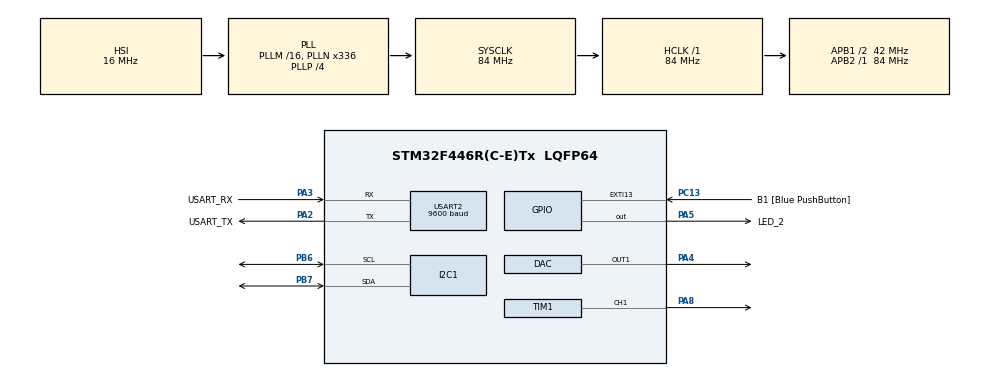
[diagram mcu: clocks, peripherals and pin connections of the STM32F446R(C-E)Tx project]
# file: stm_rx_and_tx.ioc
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DAC.DAC_Trigger=DAC_TRIGGER_T2_TRGO
Dma.DAC1.0.Direction=DMA_MEMORY_TO_PERIPH
Dma.DAC1.0.FIFOMode=DMA_FIFOMODE_DISABLE
Dma.DAC1.0.Instance=DMA1_Stream5
Dma.DAC1.0.MemDataAlignment=DMA_MDATAALIGN_WORD
Dma.DAC1.0.MemInc=DMA_MINC_ENABLE
Dma.DAC1.0.Mode=DMA_CIRCULAR
Dma.DAC1.0.PeriphDataAlignment=DMA_PDATAALIGN_WORD
Dma.DAC1.0.PeriphInc=DMA_PINC_DISABLE
Dma.DAC1.0.Priority=DMA_PRIORITY_HIGH
Dma.Request0=DAC1
FREERTOS.Queues01=FreqQueue,10,int,0,Dynamic,NULL,NULL
FREERTOS.Tasks01=Task1,40,1024,StartTask1,Default,NULL,Dynamic,NULL,NULL;Task2,24,1024,StartTask2,Default,NULL,Dynamic,NULL,NULL;Task3,8,1024,StartTask3,Default,NULL,Dynamic,NULL,NULL
FREERTOS.configUSE_NEWLIB_REENTRANT=1
Mcu.Family=STM32F4
Mcu.Name=STM32F446R(C-E)Tx
Mcu.Package=LQFP64
NVIC.DMA1_Stream5_IRQn=true\:5\:0\:false\:false\:true\:true\:false\:true\:true
NVIC.I2C1_ER_IRQn=true\:5\:0\:false\:false\:true\:true\:true\:true\:true
NVIC.I2C1_EV_IRQn=true\:5\:0\:false\:false\:true\:true\:true\:true\:true
NVIC.PriorityGroup=NVIC_PRIORITYGROUP_4
NVIC.TIM6_DAC_IRQn=true\:5\:0\:false\:false\:true\:false\:false\:true\:true
NVIC.TimeBase=TIM6_DAC_IRQn
NVIC.TimeBaseIP=TIM6
NVIC.USART2_IRQn=true\:5\:0\:false\:false\:true\:true\:true\:true\:true
PA13.GPIO_Label=TMS
PA13.Mode=Serial_Wire
PA13.Signal=SYS_JTMS-SWDIO
PA14.GPIO_Label=TCK
PA14.Mode=Serial_Wire
PA14.Signal=SYS_JTCK-SWCLK
PA2.GPIO_Label=USART_TX
PA2.Mode=Asynchronous
PA2.Signal=USART2_TX
PA3.GPIO_Label=USART_RX
PA3.Mode=Asynchronous
PA3.Signal=USART2_RX
PA4.Signal=COMP_DAC1_group
PA5.GPIO_Label=LED_2
PA5.Signal=GPIO_Output
PA8.Signal=S_TIM1_CH1
PB3.GPIO_Label=SWO
PB3.Signal=SYS_JTDO-SWO
PB6.Mode=I2C
PB6.Signal=I2C1_SCL
PB7.Mode=I2C
PB7.Signal=I2C1_SDA
PC13.GPIO_Label=B1 [Blue PushButton]
PC13.GPIO_ModeDefaultEXTI=GPIO_MODE_IT_FALLING
PC13.Signal=GPXTI13
PC14-OSC32_IN.Mode=LSE-External-Oscillator
PC14-OSC32_IN.Signal=RCC_OSC32_IN
PC15-OSC32_OUT.Mode=LSE-External-Oscillator
PC15-OSC32_OUT.Signal=RCC_OSC32_OUT
PH0-OSC_IN.Mode=HSE-External-Oscillator
PH0-OSC_IN.Signal=RCC_OSC_IN
PH1-OSC_OUT.Mode=HSE-External-Oscillator
PH1-OSC_OUT.Signal=RCC_OSC_OUT
ProjectManager.HeapSize=0x200
ProjectManager.StackSize=0x400
ProjectManager.TargetToolchain=STM32CubeIDE
RCC.48MHZClocksFreq_Value=84000000
RCC.AHBFreq_Value=84000000
RCC.APB1CLKDivider=RCC_HCLK_DIV2
RCC.APB1Freq_Value=42000000
RCC.APB1TimFreq_Value=84000000
RCC.APB2Freq_Value=84000000
RCC.APB2TimFreq_Value=84000000
RCC.CortexFreq_Value=84000000
RCC.FLatency-AdvancedSettings=FLASH_LATENCY_2
RCC.HCLKFreq_Value=84000000
RCC.HSE_VALUE=8000000
RCC.HSI_VALUE=16000000
RCC.PLLN=336
RCC.PLLP=RCC_PLLP_DIV4
RCC.SYSCLKFreq_VALUE=84000000
RCC.SYSCLKSource=RCC_SYSCLKSOURCE_PLLCLK
RCC.USBFreq_Value=168000000
RCC.VCOOutputFreq_Value=336000000
SH.COMP_DAC1_group.0=DAC_OUT1,DAC_OUT1
SH.S_TIM1_CH1.0=TIM1_CH1,PWM Generation1 CH1
TIM1.AutoReloadPreload=TIM_AUTORELOAD_PRELOAD_ENABLE
TIM1.Channel-PWM\ Generation1\ CH1=TIM_CHANNEL_1
TIM1.Period=9999
TIM1.Prescaler=83
TIM2.AutoReloadPreload=TIM_AUTORELOAD_PRELOAD_ENABLE
TIM2.Period=2624
TIM2.Prescaler=999
TIM2.TIM_MasterOutputTrigger=TIM_TRGO_UPDATE
USART2.BaudRate=9600
USART2.VirtualMode=VM_ASYNC
VP_FREERTOS_VS_CMSIS_V2.Mode=CMSIS_V2
VP_SYS_VS_tim6.Mode=TIM6
VP_TIM1_VS_ClockSourceINT.Mode=Internal
VP_TIM2_VS_ClockSourceINT.Mode=Internal
board=NUCLEO-F446RE

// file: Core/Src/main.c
/* USER CODE BEGIN Header */
/**
  ******************************************************************************
  * @file           : main.c
  * @brief          : Main program body
  ******************************************************************************
  * @attention
  *
  * Copyright (c) 2026 STMicroelectronics.
  * All rights reserved.
  *
  * This software is licensed under terms that can be found in the LICENSE file
  * in the root directory of this software component.
  * If no LICENSE file comes with this software, it is provided AS-IS.
  *
  ******************************************************************************
  */
/* USER CODE END Header */
#include "main.h"
#include "cmsis_os.h"

/* USER CODE BEGIN Includes */
#include <string.h>
#include <stdio.h>
#include <math.h>
/* USER CODE END Includes */

/* USER CODE BEGIN PD */
#define BUFFER 40
#define I2C_BUFFER 16
#define SAW_PTS 32

# define MEM_SIZE 1
# define DATA_SIZE 1
# define TIMEOUT 1000
/* USER CODE END PD */

DAC_HandleTypeDef hdac;
DMA_HandleTypeDef hdma_dac1;

I2C_HandleTypeDef hi2c1;

TIM_HandleTypeDef htim1;
TIM_HandleTypeDef htim2;

UART_HandleTypeDef huart2;

/* Definitions for Task1 */
osThreadId_t Task1Handle;
const osThreadAttr_t Task1_attributes = {
  .name = "Task1",
  .stack_size = 1024 * 4,
  .priority = (osPriority_t) osPriorityHigh,
};
/* Definitions for Task2 */
osThreadId_t Task2Handle;
const osThreadAttr_t Task2_attributes = {
  .name = "Task2",
  .stack_size = 1024 * 4,
  .priority = (osPriority_t) osPriorityNormal,
};
/* Definitions for Task3 */
osThreadId_t Task3Handle;
const osThreadAttr_t Task3_attributes = {
  .name = "Task3",
  .stack_size = 1024 * 4,
  .priority = (osPriority_t) osPriorityLow,
};
/* Definitions for FreqQueue */
osMessageQueueId_t FreqQueueHandle;
const osMessageQueueAttr_t FreqQueue_attributes = {
  .name = "FreqQueue"
};

void SystemClock_Config(void);
static void MX_GPIO_Init(void);
static void MX_DMA_Init(void);
static void MX_USART2_UART_Init(void);
static void MX_DAC_Init(void);
static void MX_TIM2_Init(void);
static void MX_I2C1_Init(void);
static void MX_TIM1_Init(void);
void StartTask1(void *argument);
void StartTask2(void *argument);
void StartTask3(void *argument);

/* USER CODE BEGIN PFP */
uint8_t *cmd_msg1 = "send a number between 1 and 10\n";
uint8_t *cmd = "fast\n";
uint8_t *cmd3 = "slow\n";
uint8_t *cmd4 = "reset\n";
uint8_t *cmd2 = "echo\n";

uint32_t saw[SAW_PTS] = {0,251,503,754,1006,1257,1509,1761,2012,
						2264,2515,2767,3018,3270,3522,3773,3773,3522,3270,3018,2767,
						2515,2264,2012,1761,1509,1257,1006,754,503,251,0};

uint8_t DATA[BUFFER] = {'\0'};
volatile uint16_t data_length = 0;

uint8_t I2C_DATA[I2C_BUFFER] = {'\0'};
volatile uint16_t i2c_data_length = 0;

uint8_t uart_int_var = 0;

uint8_t i2c_addr = 0x68 << 1;

uint16_t pwm_data[1] = {10};

void HAL_UARTEx_RxEventCallback(UART_HandleTypeDef *huart, uint16_t Size)
{
	data_length = Size;
	HAL_UARTEx_ReceiveToIdle_IT(&huart2, DATA, BUFFER);
	DATA[data_length] = '\0';
	uart_int_var = 1;

}

void HAL_I2C_MasterTxCpltCallback(I2C_HandleTypeDef *hi2c)
{
	if(hi2c->Instance == I2C1)
	{

	}
}

void HAL_I2C_MemTxCpltCallback(I2C_HandleTypeDef *hi2c)
{

}

void imu_init(uint8_t addr)
{
	uint8_t check;
	uint8_t data;

	uint8_t mema_1 = 0x75;
	uint8_t mema_2 = 0x6B;
	uint8_t mema_3 = 0x19;
	uint8_t mema_4 = 0x1B, mema_5 = 0x1C;

	HAL_I2C_Mem_Read(&hi2c1, addr, mema_1, MEM_SIZE, &check, DATA_SIZE, TIMEOUT);

	data = 0x00;
	HAL_I2C_Mem_Write(&hi2c1, addr, mema_2, MEM_SIZE, &data, DATA_SIZE, TIMEOUT);

	data = 0x07;
	HAL_I2C_Mem_Write(&hi2c1, addr, mema_3, MEM_SIZE, &data, DATA_SIZE, TIMEOUT);

	data = 0x00;
	HAL_I2C_Mem_Write(&hi2c1, addr, mema_4, MEM_SIZE, &data, DATA_SIZE, TIMEOUT);
	HAL_I2C_Mem_Write(&hi2c1, addr, mema_5, MEM_SIZE, &data, DATA_SIZE, TIMEOUT);

}

void read_gyro_data(uint8_t addr, float *gyrox, float *gyroy, float *gyroz)
{
	uint8_t raw_data[6];
	int16_t gryo_x_raw, gryo_y_raw, gryo_z_raw;

	HAL_I2C_Mem_Read(&hi2c1, addr, 0x43, MEM_SIZE, raw_data, 6, 1000);

	gryo_x_raw = (int16_t)(raw_data[0] << 8 | raw_data[1]);
	gryo_y_raw = (int16_t)(raw_data[2] << 8 | raw_data[3]);
	gryo_z_raw = (int16_t)(raw_data[4] << 8 | raw_data[5]);

	*gyrox = gryo_x_raw / 131.0;
	*gyroy = gryo_y_raw / 131.0;
	*gyroz = gryo_z_raw / 131.0;

}

/* USER CODE END PFP */

int main(void)
{

  /* MCU Configuration--------------------------------------------------------*/

  /* Reset of all peripherals, Initializes the Flash interface and the Systick. */
  HAL_Init();

  /* Configure the system clock */
  SystemClock_Config();

  /* Initialize all configured peripherals */
  MX_GPIO_Init();
  MX_DMA_Init();
  MX_USART2_UART_Init();
  MX_DAC_Init();
  MX_TIM2_Init();
  MX_I2C1_Init();
  MX_TIM1_Init();

  /* Init scheduler */
  osKernelInitialize();

  /* USER CODE BEGIN RTOS_TIMERS */
  /* start timers, add new ones, ... */
  ////////////////////////////////////////////////////////////////////////
  HAL_TIM_Base_Start(&htim2);
  HAL_TIM_Base_Start(&htim1);

  HAL_DAC_Start_DMA(&hdac, DAC_CHANNEL_1, saw, SAW_PTS, DAC_ALIGN_12B_R);

  //HAL_TIM_PWM_Start_DMA(&htim1, TIM_CHANNEL_1, (uint32_t *)pwm_data, 1);
  TIM1->CCR1 = 1000;
  HAL_TIM_PWM_Start(&htim1, TIM_CHANNEL_1);
  /* USER CODE END RTOS_TIMERS */

  /* Create the queue(s) */
  /* creation of FreqQueue */
  FreqQueueHandle = osMessageQueueNew (10, sizeof(int), &FreqQueue_attributes);

  /* Create the thread(s) */
  /* creation of Task1 */
  Task1Handle = osThreadNew(StartTask1, NULL, &Task1_attributes);

  /* creation of Task2 */
  Task2Handle = osThreadNew(StartTask2, NULL, &Task2_attributes);

  /* creation of Task3 */
  Task3Handle = osThreadNew(StartTask3, NULL, &Task3_attributes);

  /* Start scheduler */
  osKernelStart();

  /* We should never get here as control is now taken by the scheduler */

  /* Infinite loop */
  while (1)
  {

  }
}

void SystemClock_Config(void)
{
  RCC_OscInitTypeDef RCC_OscInitStruct = {0};
  RCC_ClkInitTypeDef RCC_ClkInitStruct = {0};

  /** Configure the main internal regulator output voltage
  */
  __HAL_RCC_PWR_CLK_ENABLE();
  __HAL_PWR_VOLTAGESCALING_CONFIG(PWR_REGULATOR_VOLTAGE_SCALE3);

  /** Initializes the RCC Oscillators according to the specified parameters
  * in the RCC_OscInitTypeDef structure.
  */
  RCC_OscInitStruct.OscillatorType = RCC_OSCILLATORTYPE_HSI;
  RCC_OscInitStruct.HSIState = RCC_HSI_ON;
  RCC_OscInitStruct.HSICalibrationValue = RCC_HSICALIBRATION_DEFAULT;
  RCC_OscInitStruct.PLL.PLLState = RCC_PLL_ON;
  RCC_OscInitStruct.PLL.PLLSource = RCC_PLLSOURCE_HSI;
  RCC_OscInitStruct.PLL.PLLM = 16;
  RCC_OscInitStruct.PLL.PLLN = 336;
  RCC_OscInitStruct.PLL.PLLP = RCC_PLLP_DIV4;
  RCC_OscInitStruct.PLL.PLLQ = 2;
  RCC_OscInitStruct.PLL.PLLR = 2;
  if (HAL_RCC_OscConfig(&RCC_OscInitStruct) != HAL_OK)
  {
    Error_Handler();
  }

  /** Initializes the CPU, AHB and APB buses clocks
  */
  RCC_ClkInitStruct.ClockType = RCC_CLOCKTYPE_HCLK|RCC_CLOCKTYPE_SYSCLK
                              |RCC_CLOCKTYPE_PCLK1|RCC_CLOCKTYPE_PCLK2;
  RCC_ClkInitStruct.SYSCLKSource = RCC_SYSCLKSOURCE_PLLCLK;
  RCC_ClkInitStruct.AHBCLKDivider = RCC_SYSCLK_DIV1;
  RCC_ClkInitStruct.APB1CLKDivider = RCC_HCLK_DIV2;
  RCC_ClkInitStruct.APB2CLKDivider = RCC_HCLK_DIV1;

  if (HAL_RCC_ClockConfig(&RCC_ClkInitStruct, FLASH_LATENCY_2) != HAL_OK)
  {
    Error_Handler();
  }
}

static void MX_DAC_Init(void)
{

  DAC_ChannelConfTypeDef sConfig = {0};

  /** DAC Initialization
  */
  hdac.Instance = DAC;
  if (HAL_DAC_Init(&hdac) != HAL_OK)
  {
    Error_Handler();
  }

  /** DAC channel OUT1 config
  */
  sConfig.DAC_Trigger = DAC_TRIGGER_T2_TRGO;
  sConfig.DAC_OutputBuffer = DAC_OUTPUTBUFFER_ENABLE;
  if (HAL_DAC_ConfigChannel(&hdac, &sConfig, DAC_CHANNEL_1) != HAL_OK)
  {
    Error_Handler();
  }

}

static void MX_I2C1_Init(void)
{

  hi2c1.Instance = I2C1;
  hi2c1.Init.ClockSpeed = 100000;
  hi2c1.Init.DutyCycle = I2C_DUTYCYCLE_2;
  hi2c1.Init.OwnAddress1 = 0;
  hi2c1.Init.AddressingMode = I2C_ADDRESSINGMODE_7BIT;
  hi2c1.Init.DualAddressMode = I2C_DUALADDRESS_DISABLE;
  hi2c1.Init.OwnAddress2 = 0;
  hi2c1.Init.GeneralCallMode = I2C_GENERALCALL_DISABLE;
  hi2c1.Init.NoStretchMode = I2C_NOSTRETCH_DISABLE;
  if (HAL_I2C_Init(&hi2c1) != HAL_OK)
  {
    Error_Handler();
  }

}

static void MX_TIM1_Init(void)
{

  TIM_ClockConfigTypeDef sClockSourceConfig = {0};
  TIM_MasterConfigTypeDef sMasterConfig = {0};
  TIM_OC_InitTypeDef sConfigOC = {0};
  TIM_BreakDeadTimeConfigTypeDef sBreakDeadTimeConfig = {0};

  htim1.Instance = TIM1;
  htim1.Init.Prescaler = 83;
  htim1.Init.CounterMode = TIM_COUNTERMODE_UP;
  htim1.Init.Period = 9999;
  htim1.Init.ClockDivision = TIM_CLOCKDIVISION_DIV1;
  htim1.Init.RepetitionCounter = 0;
  htim1.Init.AutoReloadPreload = TIM_AUTORELOAD_PRELOAD_ENABLE;
  if (HAL_TIM_Base_Init(&htim1) != HAL_OK)
  {
    Error_Handler();
  }
  sClockSourceConfig.ClockSource = TIM_CLOCKSOURCE_INTERNAL;
  if (HAL_TIM_ConfigClockSource(&htim1, &sClockSourceConfig) != HAL_OK)
  {
    Error_Handler();
  }
  if (HAL_TIM_PWM_Init(&htim1) != HAL_OK)
  {
    Error_Handler();
  }
  sMasterConfig.MasterOutputTrigger = TIM_TRGO_RESET;
  sMasterConfig.MasterSlaveMode = TIM_MASTERSLAVEMODE_DISABLE;
  if (HAL_TIMEx_MasterConfigSynchronization(&htim1, &sMasterConfig) != HAL_OK)
  {
    Error_Handler();
  }
  sConfigOC.OCMode = TIM_OCMODE_PWM1;
  sConfigOC.Pulse = 0;
  sConfigOC.OCPolarity = TIM_OCPOLARITY_HIGH;
  sConfigOC.OCNPolarity = TIM_OCNPOLARITY_HIGH;
  sConfigOC.OCFastMode = TIM_OCFAST_DISABLE;
  sConfigOC.OCIdleState = TIM_OCIDLESTATE_RESET;
  sConfigOC.OCNIdleState = TIM_OCNIDLESTATE_RESET;
  if (HAL_TIM_PWM_ConfigChannel(&htim1, &sConfigOC, TIM_CHANNEL_1) != HAL_OK)
  {
    Error_Handler();
  }
  sBreakDeadTimeConfig.OffStateRunMode = TIM_OSSR_DISABLE;
  sBreakDeadTimeConfig.OffStateIDLEMode = TIM_OSSI_DISABLE;
  sBreakDeadTimeConfig.LockLevel = TIM_LOCKLEVEL_OFF;
  sBreakDeadTimeConfig.DeadTime = 0;
  sBreakDeadTimeConfig.BreakState = TIM_BREAK_DISABLE;
  sBreakDeadTimeConfig.BreakPolarity = TIM_BREAKPOLARITY_HIGH;
  sBreakDeadTimeConfig.AutomaticOutput = TIM_AUTOMATICOUTPUT_DISABLE;
  if (HAL_TIMEx_ConfigBreakDeadTime(&htim1, &sBreakDeadTimeConfig) != HAL_OK)
  {
    Error_Handler();
  }
  HAL_TIM_MspPostInit(&htim1);

}

static void MX_TIM2_Init(void)
{

  TIM_ClockConfigTypeDef sClockSourceConfig = {0};
  TIM_MasterConfigTypeDef sMasterConfig = {0};

  htim2.Instance = TIM2;
  htim2.Init.Prescaler = 999;
  htim2.Init.CounterMode = TIM_COUNTERMODE_UP;
  htim2.Init.Period = 2624;
  htim2.Init.ClockDivision = TIM_CLOCKDIVISION_DIV1;
  htim2.Init.AutoReloadPreload = TIM_AUTORELOAD_PRELOAD_ENABLE;
  if (HAL_TIM_Base_Init(&htim2) != HAL_OK)
  {
    Error_Handler();
  }
  sClockSourceConfig.ClockSource = TIM_CLOCKSOURCE_INTERNAL;
  if (HAL_TIM_ConfigClockSource(&htim2, &sClockSourceConfig) != HAL_OK)
  {
    Error_Handler();
  }
  sMasterConfig.MasterOutputTrigger = TIM_TRGO_UPDATE;
  sMasterConfig.MasterSlaveMode = TIM_MASTERSLAVEMODE_DISABLE;
  if (HAL_TIMEx_MasterConfigSynchronization(&htim2, &sMasterConfig) != HAL_OK)
  {
    Error_Handler();
  }

}

static void MX_USART2_UART_Init(void)
{

  huart2.Instance = USART2;
  huart2.Init.BaudRate = 9600;
  huart2.Init.WordLength = UART_WORDLENGTH_8B;
  huart2.Init.StopBits = UART_STOPBITS_1;
  huart2.Init.Parity = UART_PARITY_NONE;
  huart2.Init.Mode = UART_MODE_TX_RX;
  huart2.Init.HwFlowCtl = UART_HWCONTROL_NONE;
  huart2.Init.OverSampling = UART_OVERSAMPLING_16;
  if (HAL_UART_Init(&huart2) != HAL_OK)
  {
    Error_Handler();
  }

}

static void MX_DMA_Init(void)
{

  /* DMA controller clock enable */
  __HAL_RCC_DMA1_CLK_ENABLE();

  /* DMA interrupt init */
  /* DMA1_Stream5_IRQn interrupt configuration */
  HAL_NVIC_SetPriority(DMA1_Stream5_IRQn, 5, 0);
  HAL_NVIC_EnableIRQ(DMA1_Stream5_IRQn);

}

static void MX_GPIO_Init(void)
{
  GPIO_InitTypeDef GPIO_InitStruct = {0};

  /* GPIO Ports Clock Enable */
  __HAL_RCC_GPIOC_CLK_ENABLE();
  __HAL_RCC_GPIOH_CLK_ENABLE();
  __HAL_RCC_GPIOA_CLK_ENABLE();
  __HAL_RCC_GPIOB_CLK_ENABLE();

  /*Configure GPIO pin Output Level */
  HAL_GPIO_WritePin(LED_2_GPIO_Port, LED_2_Pin, GPIO_PIN_RESET);

  /*Configure GPIO pin : B1_Pin */
  GPIO_InitStruct.Pin = B1_Pin;
  GPIO_InitStruct.Mode = GPIO_MODE_IT_FALLING;
  GPIO_InitStruct.Pull = GPIO_NOPULL;
  HAL_GPIO_Init(B1_GPIO_Port, &GPIO_InitStruct);

  /*Configure GPIO pin : LED_2_Pin */
  GPIO_InitStruct.Pin = LED_2_Pin;
  GPIO_InitStruct.Mode = GPIO_MODE_OUTPUT_PP;
  GPIO_InitStruct.Pull = GPIO_NOPULL;
  GPIO_InitStruct.Speed = GPIO_SPEED_FREQ_LOW;
  HAL_GPIO_Init(LED_2_GPIO_Port, &GPIO_InitStruct);

}

void StartTask1(void *argument)
{
  /* USER CODE BEGIN 5 */
	//int cmd_1_token = 0;

  /* Infinite loop */
	uint8_t CMD[BUFFER] = {'\0'};
	volatile int temp_msg = 0;

  for(;;)
  {
	  HAL_UARTEx_ReceiveToIdle_IT(&huart2, DATA, BUFFER);
	  if((!strcmp(DATA, cmd)) && (uart_int_var == 1))
	  {
		  osDelay(10);
		  HAL_UART_Transmit(&huart2, DATA, data_length, 1000);
		  temp_msg = 1;
	  }
	  else if((!strcmp(DATA, cmd3)) && (uart_int_var == 1))
	  {
		 osDelay(10);
		 HAL_UART_Transmit(&huart2, DATA, data_length, 1000);
		 temp_msg = 2;
	  }
	  else if((!strcmp(DATA, cmd2)) && (uart_int_var == 1))
	  {
		  osDelay(10);
		  HAL_UART_Transmit(&huart2, DATA, data_length, 1000);
	  }
	  else if((!strcmp(DATA, cmd4)) && (uart_int_var == 1))
	  {
		  osDelay(10);
		  HAL_UART_Transmit(&huart2, DATA, data_length, 1000);
		  temp_msg = 3;
	  }

	  if(temp_msg != 0)
	  {
		  osMessageQueuePut(FreqQueueHandle, &temp_msg, 0, 10);
	  }
	  uart_int_var = 0;
	  osDelay(20);

  }
  /* USER CODE END 5 */
}

void StartTask2(void *argument)
{
  /* USER CODE BEGIN StartTask2 */
  /* Infinite loop */
  volatile int led_speed = 0;
  // Define the timer:

  for(;;)
  {
	  if(osMessageQueueGet(FreqQueueHandle, &led_speed, 0, osWaitForever) == osOK)
	  {
		  if(led_speed == 1)
		  {
			  TIM2->ARR = 2624 / 2;
		  }
		  else if(led_speed == 2)
		  {
			  TIM2->ARR = 2624 * 2;
		  }
		  else if(led_speed == 3)
		  {
			  TIM2->ARR = 2624;
		  }
	  }
	  osDelay(1);

  }
  /* USER CODE END StartTask2 */
}

void StartTask3(void *argument)
{
  /* USER CODE BEGIN StartTask3 */
  /* Infinite loop */
	float gyro_x_print_out, gyro_y_print_out, gyro_z_print_out;
	float mag;

	imu_init(i2c_addr);
	osDelay(100);
	uint16_t duty_1 = 500;
	uint16_t duty_2 = 8000;

  for(;;)
  {
	  read_gyro_data(i2c_addr, &gyro_x_print_out, &gyro_y_print_out, &gyro_z_print_out);

	  gyro_x_print_out = gyro_x_print_out > 0 ? gyro_x_print_out : -gyro_x_print_out;
	  gyro_y_print_out = gyro_y_print_out > 0 ? gyro_y_print_out : -gyro_y_print_out;
	  gyro_z_print_out = gyro_z_print_out > 0 ? gyro_z_print_out : -gyro_z_print_out;

	  mag = gyro_x_print_out + gyro_y_print_out + gyro_z_print_out;

	  if((mag >= 0) && (mag < 40))
	  {
		  TIM1->CCR1 = duty_1;
	  }
	  else
	  {
		  TIM1->CCR1 = duty_2;
		  osDelay(1000);
	  }

	  osDelay(10);
  }
  /* USER CODE END StartTask3 */
}

void HAL_TIM_PeriodElapsedCallback(TIM_HandleTypeDef *htim)
{
  if (htim->Instance == TIM6)
  {
    HAL_IncTick();
  }
}

void Error_Handler(void)
{
  __disable_irq();
  while (1)
  {
  }
}
